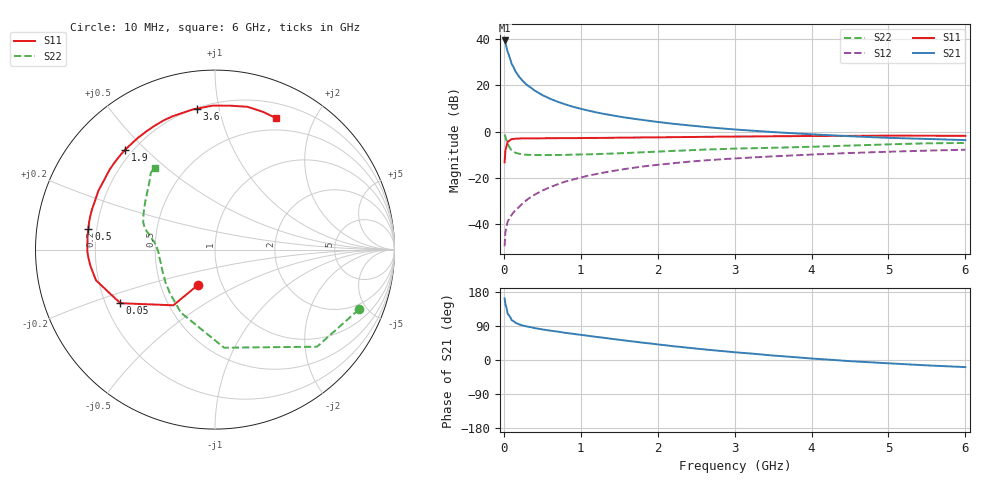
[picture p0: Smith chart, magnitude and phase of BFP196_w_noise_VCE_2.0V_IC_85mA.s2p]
! Infineon Technologies  Discrete & RF Semiconductors
! BFP196
! VCE =  2.0 V,  IC =  85 mA
! Common Emitter S-Parameters:  Jan 2017
# GHz  S  MA  R  50
!  f  S11  S21  S12  S22
! GHz  MAG  ANG  MAG  ANG  MAG  ANG  MAG  ANG
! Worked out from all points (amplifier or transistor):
!   77 points, 10 MHz to 6 GHz, reference 50 ohm
!   highest |S21| = 39.2 dB at 10 MHz (marker M1)
!   |S21| within 3 dB of that: start of sweep to 35.23 MHz
!   unconditionally stable (mu >= 1): 365.9 MHz to 2.537 GHz
!   at 130 MHz: K = 0.78, MSG = 31.1 dB, |S12| = -34.7 dB
!   at 2.2 GHz: K = 1.01, MAG = 7.8 dB, |S12| = -13.7 dB
!   at 6 GHz: K = 0.98, MSG = 2.1 dB, |S12| = -7.8 dB
!   lowest NFmin = 1.85 dB at 450 MHz
!   S11 on the Smith chart (normalised r, x): 10 MHz: 0.77, -0.32; 50 MHz: 0.26, -0.25; 500 MHz: 0.17, +0.08; 1.9 GHz: 0.17, +0.43; 3.6 GHz: 0.20, +0.86; 6 GHz: 0.36, +1.51
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0.01  0.2175 -115.6  91.35 162.4  0.0034 73.9  0.8681 -22.6
0.02  0.3877 -126.8  81.79 147.6  0.0067 69.3  0.7847 -43.6
0.05  0.6062 -150.5  51.38 121.4  0.0115 55.1  0.549 -84.7
0.1  0.6845 -165.5  29.03 105.3  0.0159 59.3  0.3992 -118.5
0.15  0.7 -172.5  19.86 98.5  0.0201 60.6  0.3498 -135.7
0.2  0.7069 -176.3  15.03 94.0  0.0238 66.0  0.3313 -146.0
0.25  0.7117 -179.5  12.06 90.7  0.0292 66.4  0.3209 -152.7
0.3  0.7113 178.1  10.08 88.4  0.0338 68.6  0.316 -157.9
0.4  0.7138 174.2  7.61 84.2  0.0436 69.7  0.3116 -164.3
0.5  0.7151 170.6  6.09 80.7  0.0535 70.3  0.3112 -168.7
0.6  0.7183 167.4  5.099 77.6  0.0632 69.6  0.3132 -172.1
0.8  0.721 161.7  3.836 71.7  0.0836 68.8  0.3149 -176.8
0.9  0.721 158.9  3.41 69.0  0.0927 67.3  0.3173 -178.5
1.1  0.7276 153.3  2.818 63.8  0.1123 65.2  0.3232 178.3
1.5  0.7372 142.7  2.096 53.4  0.1488 59.6  0.3404 173.1
1.9  0.7487 132.1  1.69 43.7  0.1838 53.6  0.3631 169.1
2.1  0.7525 127.1  1.537 38.9  0.1997 50.5  0.3757 167.3
3.1  0.7803 106.0  1.079 18.9  0.2687 36.0  0.4321 157.6
3.6  0.7921 97.2  0.951 10.3  0.2974 29.6  0.4511 151.4
4.1  0.8019 89.4  0.855 2.6  0.3241 23.4  0.475 144.5
5.1  0.8145 75.9  0.723 -9.8  0.3712 11.6  0.5345 132.7
6  0.8079 65.1  0.654 -18.8  0.4061 1.6  0.5672 126.4
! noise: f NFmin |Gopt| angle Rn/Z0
0.45  1.85  0.51  -169  0.06
0.9  2.01  0.54  -157  0.1
1.9  2.88  0.7  -129  0.43
2.4  3.28  0.7  -116  0.89
